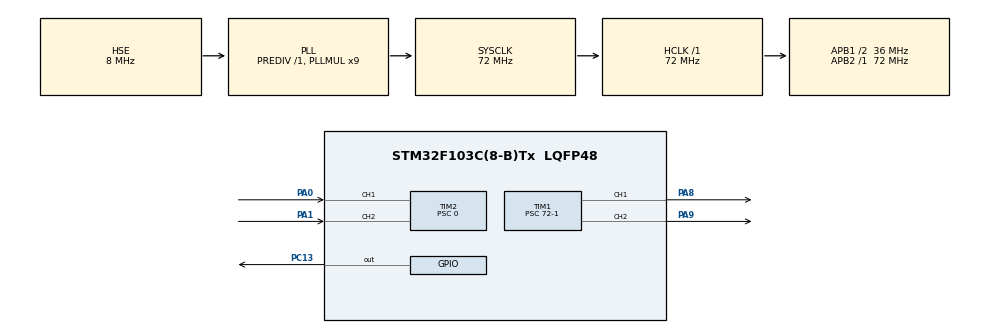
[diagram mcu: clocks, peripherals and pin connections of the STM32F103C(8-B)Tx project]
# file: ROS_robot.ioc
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Mcu.Family=STM32F1
Mcu.Name=STM32F103C(8-B)Tx
Mcu.Package=LQFP48
NVIC.PriorityGroup=NVIC_PRIORITYGROUP_4
NVIC.TIM1_BRK_IRQn=true\:0\:0\:false\:false\:true\:true
NVIC.TIM1_UP_IRQn=true\:0\:0\:false\:false\:true\:true
PA0-WKUP.Signal=S_TIM2_CH1_ETR
PA1.Signal=S_TIM2_CH2
PA13.Mode=Serial_Wire
PA13.Signal=SYS_JTMS-SWDIO
PA14.Mode=Serial_Wire
PA14.Signal=SYS_JTCK-SWCLK
PA8.Signal=S_TIM1_CH1
PA9.Signal=S_TIM1_CH2
PC13-TAMPER-RTC.Signal=GPIO_Output
PD0-OSC_IN.Mode=HSE-External-Oscillator
PD0-OSC_IN.Signal=RCC_OSC_IN
PD1-OSC_OUT.Mode=HSE-External-Oscillator
PD1-OSC_OUT.Signal=RCC_OSC_OUT
ProjectManager.HeapSize=0x200
ProjectManager.StackSize=0x400
ProjectManager.TargetToolchain=MDK-ARM V5
RCC.AHBFreq_Value=72000000
RCC.APB1CLKDivider=RCC_HCLK_DIV2
RCC.APB1Freq_Value=36000000
RCC.APB1TimFreq_Value=72000000
RCC.APB2Freq_Value=72000000
RCC.APB2TimFreq_Value=72000000
RCC.HCLKFreq_Value=72000000
RCC.PLLMUL=RCC_PLL_MUL9
RCC.PLLSourceVirtual=RCC_PLLSOURCE_HSE
RCC.SYSCLKFreq_VALUE=72000000
RCC.SYSCLKSource=RCC_SYSCLKSOURCE_PLLCLK
RCC.USBFreq_Value=72000000
SH.S_TIM1_CH1.0=TIM1_CH1,PWM Generation1 CH1
SH.S_TIM1_CH2.0=TIM1_CH2,PWM Generation2 CH2
SH.S_TIM2_CH1_ETR.0=TIM2_CH1,Encoder_Interface
SH.S_TIM2_CH2.0=TIM2_CH2,Encoder_Interface
TIM1.Channel-PWM\ Generation1\ CH1=TIM_CHANNEL_1
TIM1.Channel-PWM\ Generation2\ CH2=TIM_CHANNEL_2
TIM1.Period=1000-1
TIM1.Prescaler=72-1
TIM2.EncoderMode=TIM_ENCODERMODE_TI12
TIM2.Period=65535
TIM2.Prescaler=0
board=custom

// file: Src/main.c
/**
  ******************************************************************************
  * @file           : main.c
  * @brief          : Main program body
  ******************************************************************************
  ** This notice applies to any and all portions of this file
  * that are not between comment pairs USER CODE BEGIN and
  * USER CODE END. Other portions of this file, whether
  * inserted by the user or by software development tools
  * are owned by their respective copyright owners.
  *
  * COPYRIGHT(c) 2019 STMicroelectronics
  *
  * Redistribution and use in source and binary forms, with or without modification,
  * are permitted provided that the following conditions are met:
  *   1. Redistributions of source code must retain the above copyright notice,
  *      this list of conditions and the following disclaimer.
  *   2. Redistributions in binary form must reproduce the above copyright notice,
  *      this list of conditions and the following disclaimer in the documentation
  *      and/or other materials provided with the distribution.
  *   3. Neither the name of STMicroelectronics nor the names of its contributors
  *      may be used to endorse or promote products derived from this software
  *      without specific prior written permission.
  *
  * THIS SOFTWARE IS PROVIDED BY THE COPYRIGHT HOLDERS AND CONTRIBUTORS "AS IS"
  * AND ANY EXPRESS OR IMPLIED WARRANTIES, INCLUDING, BUT NOT LIMITED TO, THE
  * IMPLIED WARRANTIES OF MERCHANTABILITY AND FITNESS FOR A PARTICULAR PURPOSE ARE
  * DISCLAIMED. IN NO EVENT SHALL THE COPYRIGHT HOLDER OR CONTRIBUTORS BE LIABLE
  * FOR ANY DIRECT, INDIRECT, INCIDENTAL, SPECIAL, EXEMPLARY, OR CONSEQUENTIAL
  * DAMAGES (INCLUDING, BUT NOT LIMITED TO, PROCUREMENT OF SUBSTITUTE GOODS OR
  * SERVICES; LOSS OF USE, DATA, OR PROFITS; OR BUSINESS INTERRUPTION) HOWEVER
  * CAUSED AND ON ANY THEORY OF LIABILITY, WHETHER IN CONTRACT, STRICT LIABILITY,
  * OR TORT (INCLUDING NEGLIGENCE OR OTHERWISE) ARISING IN ANY WAY OUT OF THE USE
  * OF THIS SOFTWARE, EVEN IF ADVISED OF THE POSSIBILITY OF SUCH DAMAGE.
  *
  ******************************************************************************
  */
#include "main.h"
#include "stm32f1xx_hal.h"
#include "tim.h"
#include "gpio.h"

/* USER CODE BEGIN Includes */
#include "led.h"
#include "encoder.h"
//#include "interrupt.h"
#include "control.h"
#include "interrupt.h"
/* USER CODE END Includes */

/* USER CODE BEGIN PV */
/* Private variables ---------------------------------------------------------*/

/* USER CODE END PV */

void SystemClock_Config(void);

/* USER CODE BEGIN PFP */
/* Private function prototypes -----------------------------------------------*/

/* USER CODE END PFP */

/* USER CODE BEGIN 0 */
//int a1=0,a2=0;
__IO int Encoder_Balance=0;
__IO int Encoder_read=0;
/* USER CODE END 0 */

int main(void)
{

  /* MCU Configuration----------------------------------------------------------*/

  /* Reset of all peripherals, Initializes the Flash interface and the Systick. */
  HAL_Init();

  /* Configure the system clock */
  SystemClock_Config();

  /* Initialize all configured peripherals */
  MX_GPIO_Init();
  MX_TIM1_Init();
  MX_TIM2_Init();
  /* USER CODE BEGIN 2 */
	HAL_TIM_Base_Start_IT(&htim1);
	HAL_TIM_PWM_Start(&htim1,TIM_CHANNEL_1);
	HAL_TIM_PWM_Start(&htim1,TIM_CHANNEL_2);
	HAL_TIM_Encoder_Start(&htim2,TIM_CHANNEL_1|TIM_CHANNEL_2);
  /* USER CODE END 2 */

  /* Infinite loop */
  /* USER CODE BEGIN WHILE */
  while (1)
  {
		if(Encoder_read==1)
		{
			Encoder_read=0;
			Encoder_Balance=Read_Encoder_Speed(2);
		}
  /* USER CODE END WHILE */

  /* USER CODE BEGIN 3 */
		LED2_TOGGLE;
		HAL_Delay(300);
//	__HAL_TIM_SET_COMPARE(&htim1,TIM_CHANNEL_1,a1);
//	__HAL_TIM_SET_COMPARE(&htim1,TIM_CHANNEL_2,a2);
  }
  /* USER CODE END 3 */

}

void SystemClock_Config(void)
{

  RCC_OscInitTypeDef RCC_OscInitStruct;
  RCC_ClkInitTypeDef RCC_ClkInitStruct;

    /**Initializes the CPU, AHB and APB busses clocks
    */
  RCC_OscInitStruct.OscillatorType = RCC_OSCILLATORTYPE_HSE;
  RCC_OscInitStruct.HSEState = RCC_HSE_ON;
  RCC_OscInitStruct.HSEPredivValue = RCC_HSE_PREDIV_DIV1;
  RCC_OscInitStruct.HSIState = RCC_HSI_ON;
  RCC_OscInitStruct.PLL.PLLState = RCC_PLL_ON;
  RCC_OscInitStruct.PLL.PLLSource = RCC_PLLSOURCE_HSE;
  RCC_OscInitStruct.PLL.PLLMUL = RCC_PLL_MUL9;
  if (HAL_RCC_OscConfig(&RCC_OscInitStruct) != HAL_OK)
  {
    _Error_Handler(__FILE__, __LINE__);
  }

    /**Initializes the CPU, AHB and APB busses clocks
    */
  RCC_ClkInitStruct.ClockType = RCC_CLOCKTYPE_HCLK|RCC_CLOCKTYPE_SYSCLK
                              |RCC_CLOCKTYPE_PCLK1|RCC_CLOCKTYPE_PCLK2;
  RCC_ClkInitStruct.SYSCLKSource = RCC_SYSCLKSOURCE_PLLCLK;
  RCC_ClkInitStruct.AHBCLKDivider = RCC_SYSCLK_DIV1;
  RCC_ClkInitStruct.APB1CLKDivider = RCC_HCLK_DIV2;
  RCC_ClkInitStruct.APB2CLKDivider = RCC_HCLK_DIV1;

  if (HAL_RCC_ClockConfig(&RCC_ClkInitStruct, FLASH_LATENCY_2) != HAL_OK)
  {
    _Error_Handler(__FILE__, __LINE__);
  }

    /**Configure the Systick interrupt time
    */
  HAL_SYSTICK_Config(HAL_RCC_GetHCLKFreq()/1000);

    /**Configure the Systick
    */
  HAL_SYSTICK_CLKSourceConfig(SYSTICK_CLKSOURCE_HCLK);

  /* SysTick_IRQn interrupt configuration */
  HAL_NVIC_SetPriority(SysTick_IRQn, 0, 0);
}

void _Error_Handler(char *file, int line)
{
  while(1)
  {
  }
}

/************************ (C) COPYRIGHT STMicroelectronics *****END OF FILE****/
